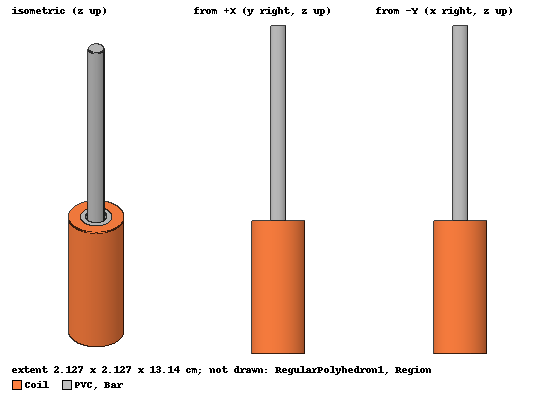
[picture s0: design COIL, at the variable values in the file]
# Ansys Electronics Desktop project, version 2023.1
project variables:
  $r_wire = 0.00025meter
  $r_coil_ext = 0.010635meter
  $r_coil_int = 0.006035meter
  $N = 750
  $copper_lenght = 41.33meter
  $h_coil = 0.05312meter
  $coil_current = 3.5A
  $coil_voltage = 13V
  $r_pvc = 0.00404meter
  $l_bar = 0.096meter
  $r_bar = 0.003045
  $coil_resistance = 3.65ohm
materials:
  vacuum: permittivity=1
  copper: permeability=0.999991 conductivity=58000000
  PVC plastic: permittivity=2.7 dielectric_loss_tangent=0.007
  air: permittivity=1.0006 permeability=1.0000004
  steel_stainless: conductivity=1100000
  Cast iron, EN GJL 100: permeability{HUnit=A_per_meter BUnit=tesla curve (0, 0) (587.829, 0.1) (950.686, 0.2) (1313.54, 0.3) (1785.78, 0.4) (2539.27, 0.5) (3405.34, 0.6) (4758.27, 0.7) (6546.86, 0.8) (9406.73, 0.9) (12834.4, 1) (16836.6, 1.1) (24093.7, 1.2) (31350.9, 1.3) (42519.6, 1.4) (59106.1, 1.5) (79828.6, 1.6) (116114, 1.7) (152400, 1.8)} conductivity=1205510
  Al-Extruded

design COIL (Maxwell 3D, Transient, model units cm)
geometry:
  Coil [copper] = cylinder(axis=Z, base_centre=(0cm, 0cm, 0cm), radius=$r_coil_ext, height=$h_coil)
  Cylinder2 = cylinder(axis=Z, base_centre=(0cm, 0cm, 0cm), radius=$r_coil_int, height=$h_coil)
  Coil.subtract(Cylinder2)
  PVC [PVC plastic] = cylinder(axis=Z, base_centre=(0cm, 0cm, 0cm), radius=$r_coil_int, height=$h_coil)
  Cylinder4 = cylinder(axis=Z, base_centre=(0cm, 0cm, 0cm), radius=$r_pvc, height=$h_coil)
  PVC.subtract(Cylinder4)
  Region [air] = region(percentage_offset: +X=300, -X=300, +Y=300, -Y=300, +Z=60, -Z=60)
  Cylinder1_Section1 [copper] = Coil.section(plane=YZ)
  Cylinder1_Section1.separate_bodies()
  Bar [Cast iron, EN GJL 100] = cylinder(axis=Z, base_centre=(0m, 0m, $h_coil*2/3), radius=$r_bar, height=$l_bar)
  RegularPolyhedron1 [vacuum] = polyhedron(axis=Z, centre=(0cm, 0cm, 0cm), first_corner=(-$r_bar-0.00075, 0cm, 0cm), sides=6, height=4*$l_bar)
  RegularPolyhedron1.move(0cm, 0cm, -14.4cm)
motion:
  MotionSetup1: Band Move_Type=Translate Coordinate_System=Global PostProcessing_Coordinate_System=Global Axis=Z Is_Positive=false InitPos=$h_coil*2/3 NegativePos=-10cm PositivePos=10cm Velocity=0m_per_sec Objects=RegularPolyhedron1
  Moving1: Moving Objects=Bar
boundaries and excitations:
  CoilTerminal1: Coil Terminal Objects=Cylinder1_Section1 Conductor_number=$N Winding=Winding1 Point_out_of_terminal=true
  Winding1: Winding Group Type=External IsSolid=false Current=$coil_current ParallelBranchesNum=1
  external circuit: "* Design: PFG3D_ckt\"
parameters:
  Force1: Force Reference_CS=Global Is_Virtual=true Objects=Bar
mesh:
  Bar: LengthBased Objects=Bar NumMaxElem=10000
  Coil: LengthBased Objects=Coil NumMaxElem=10000
  initial mesh: GlobalCurvilinear{Apply}
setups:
  Setup1: Transient NonlinearSolverResidual=0.005 ScalarPotential="Second Order" StopTime=1.5s TimeStep=0.15s SaveFieldsType="Every N Steps" N_Steps=1 Steps_From=0s Steps_To=1.5s NumberSolveSteps=1 RangeStart=0s RangeEnd=0.1s
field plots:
  Mesh1: MeshPlots in Coil, Bar on Setup1 : Transient at Time=-1s

design PFG3D_ckt (Maxwell Circuit)
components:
  Winding_2 = Winding(Name=Winding1)
  IPulse_9 = IPulse(Period=5 I1=$coil_current I2=0A)
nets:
  0: Winding_2.1, IPulse_9.0
  net_1: Winding_2.0, IPulse_9.1
